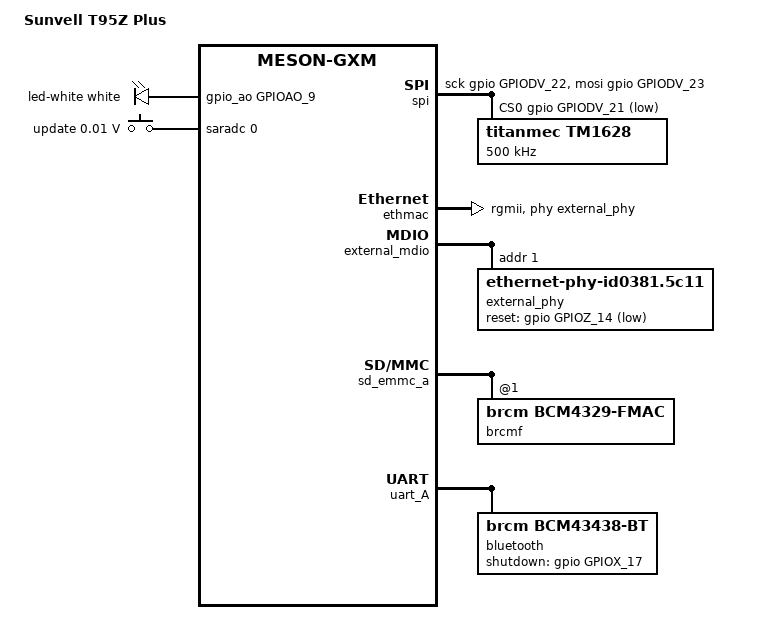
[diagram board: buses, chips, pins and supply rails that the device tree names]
// SPDX-License-Identifier: (GPL-2.0+ OR MIT)
/*
 * Copyright (c) Christian Hewitt <christianshewitt@gmail.com>
 */

/dts-v1/;

#include "meson-gxm.dtsi"
#include "meson-gx-p23x-q20x.dtsi"
#include <dt-bindings/input/input.h>
#include <dt-bindings/leds/common.h>

/ {
	compatible = "sunvell,t95z-plus", "amlogic,s912", "amlogic,meson-gxm";
	model = "Sunvell T95Z Plus";

	leds {
		compatible = "gpio-leds";

		led-white {
			color = <LED_COLOR_ID_WHITE>;
			function = LED_FUNCTION_POWER;
			gpios = <&gpio_ao GPIOAO_9 GPIO_ACTIVE_HIGH>;
			default-state = "on";
			panic-indicator;
		};
	};

	adc-keys {
		compatible = "adc-keys";
		io-channels = <&saradc 0>;
		io-channel-names = "buttons";
		keyup-threshold-microvolt = <1710000>;

		button-function {
			label = "update";
			linux,code = <KEY_VENDOR>;
			press-threshold-microvolt = <10000>;
		};
	};

	spi {
		compatible = "spi-gpio";

		/* T95Z v1 (enabled) */
		sck-gpios = <&gpio GPIODV_22 GPIO_ACTIVE_HIGH>;
		mosi-gpios = <&gpio GPIODV_23 GPIO_ACTIVE_HIGH>;
		cs-gpios = <&gpio GPIODV_21 GPIO_ACTIVE_LOW>;

		/* T95Z v2 (disabled)
		sck-gpios = <&gpio GPIODV_19 GPIO_ACTIVE_HIGH>;
		mosi-gpios = <&gpio GPIODV_18 GPIO_ACTIVE_HIGH>;
		cs-gpios = <&gpio GPIODV_20 GPIO_ACTIVE_LOW>;
		*/

		num-chipselects = <1>;
		#address-cells = <1>;
		#size-cells = <0>;

		tm1628: led-controller@0 {
			compatible = "titanmec,tm1628";
			reg = <0>;
			spi-3wire;
			spi-lsb-first;
			spi-rx-delay-us = <1>;
			spi-max-frequency = <500000>;
			#address-cells = <2>;
			#size-cells = <0>;

			titanmec,segment-mapping = /bits/ 8 <4 5 6 1 2 3 7>;
			titanmec,grid = /bits/ 8 <4 3 2 1>;

			alarm@5,1 {
				reg = <5 1>;
				function = LED_FUNCTION_ALARM;
			};

			usb@5,2 {
				reg = <5 2>;
				function = LED_FUNCTION_USB;
			};
			play@5,3 {
				reg = <5 3>;
				function = "play";
			};

			pause@5,4 {
				reg = <5 4>;
				function = "pause";
			};

			colon@5,5 {
				reg = <5 5>;
				function = "colon";
			};

			lan@5,6 {
				reg = <5 6>;
				function = LED_FUNCTION_LAN;
			};

			wlan@5,7 {
				reg = <5 7>;
				function = LED_FUNCTION_WLAN;
			};
		};
	};
};

&ethmac {
	pinctrl-0 = <&eth_pins>;
	pinctrl-names = "default";

	phy-handle = <&external_phy>;
	phy-mode = "rgmii";

	amlogic,tx-delay-ns = <2>;
};

&external_mdio {
	external_phy: ethernet-phy@1 {
		/* ZTE ZX2AA500 */
		compatible = "ethernet-phy-id0381.5c11",
			     "ethernet-phy-ieee802.3-c22";
		reg = <1>;
		max-speed = <1000>;

		reset-assert-us = <10000>;
		reset-deassert-us = <80000>;
		reset-gpios = <&gpio GPIOZ_14 GPIO_ACTIVE_LOW>;

		interrupt-parent = <&gpio_intc>;
		/* MAC_INTR on GPIOZ_15 */
		interrupts = <25 IRQ_TYPE_LEVEL_LOW>;
	};
};

&sd_emmc_a {
	brcmf: wifi@1 {
		reg = <1>;
		compatible = "brcm,bcm4329-fmac";
	};
};

&uart_A {
	status = "okay";
	pinctrl-0 = <&uart_a_pins>, <&uart_a_cts_rts_pins>;
	pinctrl-names = "default";
	uart-has-rtscts;

	bluetooth {
		compatible = "brcm,bcm43438-bt";
		shutdown-gpios = <&gpio GPIOX_17 GPIO_ACTIVE_HIGH>;
		max-speed = <2000000>;
		clocks = <&wifi32k>;
		clock-names = "lpo";
	};
};
